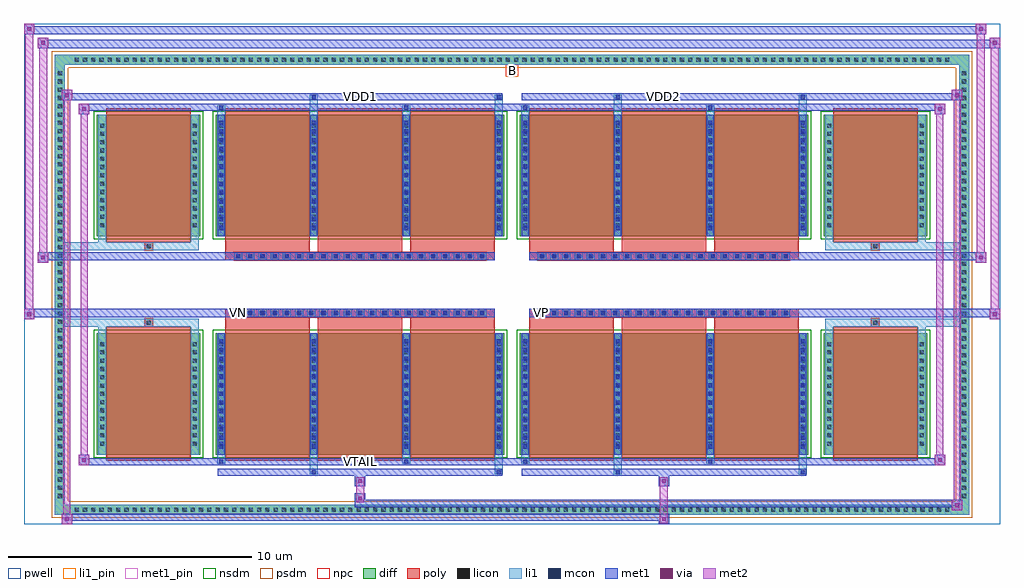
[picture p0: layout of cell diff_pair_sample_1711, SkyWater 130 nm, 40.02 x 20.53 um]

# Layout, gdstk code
import gdstk
lib = gdstk.Library(unit=1e-6, precision=5e-09)
def R(c, l, rs):  # rectangles x0, y0, x1, y1
    for r in rs: c.add(gdstk.rectangle(r[:2], r[2:], *l))
def A(c, l, x, y, w, h, nx, ny, dx, dy):  # array of equal rectangles
    R(c, l, [(x+i*dx, y+j*dy, x+i*dx+w, y+j*dy+h) for i in range(nx) for j in range(ny)])
def P(c, l, *ps):  # polygons
    for p in ps: c.add(gdstk.Polygon(p, *l))
pwell = (64, 44)
diff = (65, 20)
poly = (66, 20)
licon = (66, 44)
li1_pin = (67, 16)
li1 = (67, 20)
mcon = (67, 44)
met1_pin = (68, 16)
met1 = (68, 20)
via = (68, 44)
met2 = (69, 20)
nsdm = (93, 44)
psdm = (94, 20)
npc = (95, 20)

diff_pair_sample_1711 = lib.new_cell('diff_pair_sample_1711')
R(diff_pair_sample_1711, pwell, [(-20.01,-9.83,20.01,10.7), (-17.33,-8.02,-0.01,-0.8), (0.01,-8.02,17.33,-0.8), (-17.33,0.8,-0.01,8.02), (0.01,0.8,17.33,8.02)])
A(diff_pair_sample_1711, diff, -18.055, -9.43, 0.41, 0.41, 106, 2, 0.34, 18.45)
A(diff_pair_sample_1711, diff, -18.74, -8.875, 0.41, 0.41, 1, 52, 0, 0.34)
A(diff_pair_sample_1711, diff, 18.33, -8.875, 0.41, 0.41, 1, 52, 0, 0.34)
R(diff_pair_sample_1711, diff, [(-18.055,-9.43,18.055,-9.02), (-18.74,-8.875,-18.33,8.875), (18.33,-8.875,18.74,8.875), (-17.02,-6.975,-12.78,-1.985), (-12.14,-6.975,-0.32,-1.985), (0.32,-6.975,12.14,-1.985), (12.78,-6.975,17.02,-1.985), (-17.02,1.985,-12.78,6.975), (-12.14,1.985,-0.32,6.975), (0.32,1.985,12.14,6.975), (12.78,1.985,17.02,6.975), (-18.055,9.02,18.055,9.43)])
P(diff_pair_sample_1711, diff, [(18.74,9.43),(-18.74,9.43),(-18.74,-9.02),(-18.33,-9.02),(-18.33,9.02),(18.33,9.02),(18.33,-9.02),(-18.33,-9.02),(-18.74,-9.02),(-18.74,-9.43),(18.74,-9.43)])
A(diff_pair_sample_1711, poly, -11.75, -7.225, 3.46, 5.49, 3, 2, 3.79, 8.96)
A(diff_pair_sample_1711, poly, 0.71, -7.225, 3.46, 5.49, 3, 2, 3.79, 8.96)
A(diff_pair_sample_1711, poly, -11.75, -1.735, 3.46, 0.405, 3, 2, 3.79, 3.065)
A(diff_pair_sample_1711, poly, 0.71, -1.735, 3.46, 0.405, 3, 2, 3.79, 3.065)
A(diff_pair_sample_1711, poly, -11.395, -1.33, 0.33, 0.33, 21, 2, 0.5, 2.33)
A(diff_pair_sample_1711, poly, 1.065, -1.33, 0.33, 0.33, 21, 2, 0.5, 2.33)
R(diff_pair_sample_1711, poly, [(-16.63,-7.225,-13.17,-1.735), (13.17,-7.225,16.63,-1.735), (-15.065,-1.735,-14.735,-1.405), (-15.065,-1.735,-14.735,-1.405), (14.735,-1.735,15.065,-1.405), (14.735,-1.735,15.065,-1.405), (-11.75,-1.33,-0.71,-1), (0.71,-1.33,11.75,-1), (-11.75,1,-0.71,1.33), (0.71,1,11.75,1.33), (-15.065,1.405,-14.735,1.735), (-15.065,1.405,-14.735,1.735), (14.735,1.405,15.065,1.735), (14.735,1.405,15.065,1.735), (-16.63,1.735,-13.17,7.225), (13.17,1.735,16.63,7.225)])
A(diff_pair_sample_1711, licon, -17.935, -9.31, 0.17, 0.17, 106, 2, 0.34, 18.45)
A(diff_pair_sample_1711, licon, -18.62, -8.755, 0.17, 0.17, 1, 52, 0, 0.34)
A(diff_pair_sample_1711, licon, 18.45, -8.755, 0.17, 0.17, 1, 52, 0, 0.34)
A(diff_pair_sample_1711, licon, -16.88, -6.605, 0.17, 0.17, 1, 13, 0, 0.34)
A(diff_pair_sample_1711, licon, -13.09, -6.605, 0.17, 0.17, 1, 13, 0, 0.34)
A(diff_pair_sample_1711, licon, -12, -6.605, 0.17, 0.17, 4, 13, 3.79, 0.34)
A(diff_pair_sample_1711, licon, 0.46, -6.605, 0.17, 0.17, 4, 13, 3.79, 0.34)
A(diff_pair_sample_1711, licon, 12.92, -6.605, 0.17, 0.17, 1, 13, 0, 0.34)
A(diff_pair_sample_1711, licon, 16.71, -6.605, 0.17, 0.17, 1, 13, 0, 0.34)
A(diff_pair_sample_1711, licon, -11.315, -1.25, 0.17, 0.17, 21, 2, 0.5, 2.33)
A(diff_pair_sample_1711, licon, 1.145, -1.25, 0.17, 0.17, 21, 2, 0.5, 2.33)
A(diff_pair_sample_1711, licon, -16.88, 2.355, 0.17, 0.17, 1, 13, 0, 0.34)
A(diff_pair_sample_1711, licon, -13.09, 2.355, 0.17, 0.17, 1, 13, 0, 0.34)
A(diff_pair_sample_1711, licon, -12, 2.355, 0.17, 0.17, 4, 13, 3.79, 0.34)
A(diff_pair_sample_1711, licon, 0.46, 2.355, 0.17, 0.17, 4, 13, 3.79, 0.34)
A(diff_pair_sample_1711, licon, 12.92, 2.355, 0.17, 0.17, 1, 13, 0, 0.34)
A(diff_pair_sample_1711, licon, 16.71, 2.355, 0.17, 0.17, 1, 13, 0, 0.34)
R(diff_pair_sample_1711, licon, [(-14.985,-1.655,-14.815,-1.485), (14.815,-1.655,14.985,-1.485), (-14.985,1.485,-14.815,1.655), (14.815,1.485,14.985,1.655)])
R(diff_pair_sample_1711, li1_pin, [(-0.25,8.52,0.25,9.02)])
A(diff_pair_sample_1711, li1, -18.015, -9.39, 0.33, 0.33, 106, 2, 0.34, 18.45)
A(diff_pair_sample_1711, li1, -18.7, -8.835, 0.33, 0.33, 1, 52, 0, 0.34)
A(diff_pair_sample_1711, li1, 18.37, -8.835, 0.33, 0.33, 1, 52, 0, 0.34)
A(diff_pair_sample_1711, li1, -12.08, -6.975, 0.33, 4.99, 4, 2, 3.79, 8.96)
A(diff_pair_sample_1711, li1, 0.38, -6.975, 0.33, 4.99, 4, 2, 3.79, 8.96)
A(diff_pair_sample_1711, li1, -12, -6.725, 0.17, 0.17, 4, 13, 3.79, 0.36)
A(diff_pair_sample_1711, li1, -12, -6.725, 0.17, 4.49, 4, 2, 3.79, 8.96)
A(diff_pair_sample_1711, li1, 0.46, -6.725, 0.17, 0.17, 4, 13, 3.79, 0.36)
A(diff_pair_sample_1711, li1, 0.46, -6.725, 0.17, 4.49, 4, 2, 3.79, 8.96)
A(diff_pair_sample_1711, li1, -16.96, -6.685, 0.33, 0.33, 1, 13, 0, 0.34)
A(diff_pair_sample_1711, li1, -13.17, -6.685, 0.33, 0.33, 1, 13, 0, 0.34)
A(diff_pair_sample_1711, li1, -12.08, -6.685, 0.33, 0.33, 4, 13, 3.79, 0.34)
A(diff_pair_sample_1711, li1, 0.38, -6.685, 0.33, 0.33, 4, 13, 3.79, 0.34)
A(diff_pair_sample_1711, li1, 12.84, -6.685, 0.33, 0.33, 1, 13, 0, 0.34)
A(diff_pair_sample_1711, li1, 16.63, -6.685, 0.33, 0.33, 1, 13, 0, 0.34)
A(diff_pair_sample_1711, li1, -11.395, -1.33, 0.33, 0.33, 21, 2, 0.5, 2.33)
A(diff_pair_sample_1711, li1, 1.065, -1.33, 0.33, 0.33, 21, 2, 0.5, 2.33)
A(diff_pair_sample_1711, li1, -12, 2.235, 0.17, 0.17, 4, 13, 3.79, 0.36)
A(diff_pair_sample_1711, li1, 0.46, 2.235, 0.17, 0.17, 4, 13, 3.79, 0.36)
A(diff_pair_sample_1711, li1, -16.96, 2.275, 0.33, 0.33, 1, 13, 0, 0.34)
A(diff_pair_sample_1711, li1, -13.17, 2.275, 0.33, 0.33, 1, 13, 0, 0.34)
A(diff_pair_sample_1711, li1, -12.08, 2.275, 0.33, 0.33, 4, 13, 3.79, 0.34)
A(diff_pair_sample_1711, li1, 0.38, 2.275, 0.33, 0.33, 4, 13, 3.79, 0.34)
A(diff_pair_sample_1711, li1, 12.84, 2.275, 0.33, 0.33, 1, 13, 0, 0.34)
A(diff_pair_sample_1711, li1, 16.63, 2.275, 0.33, 0.33, 1, 13, 0, 0.34)
R(diff_pair_sample_1711, li1, [(-18.74,-9.43,-18.33,-9.02), (-18.74,-9.43,-18.33,-9.02), (-18.33,-9.43,18.33,-9.02), (18.33,-9.43,18.74,-9.02), (18.33,-9.43,18.74,-9.02), (-18.74,-9.02,-18.33,9.02), (18.33,-9.02,18.74,9.02), (-8.29,-7.78,-7.96,-6.975), (-8.21,-7.78,-8.04,-7.61), (-0.71,-7.78,-0.38,-6.975), (-0.63,-7.78,-0.46,-7.61), (4.17,-7.78,4.5,-6.975), (4.25,-7.78,4.42,-7.61), (11.75,-7.78,12.08,-6.975), (11.83,-7.78,12,-7.61), (-12.08,-7.35,-11.75,-6.975), (-12,-7.35,-11.83,-7.18), (-4.5,-7.35,-4.17,-6.975), (-4.42,-7.35,-4.25,-7.18), (0.38,-7.35,0.71,-6.975), (0.46,-7.35,0.63,-7.18), (7.96,-7.35,8.29,-6.975), (8.04,-7.35,8.21,-7.18), (-16.96,-6.975,-16.63,-1.985), (-13.17,-6.975,-12.84,-1.985), (12.84,-6.975,13.17,-1.985), (16.63,-6.975,16.96,-1.985), (-16.96,-1.985,-16.63,-1.405), (-13.17,-1.985,-12.84,-1.405), (12.84,-1.985,13.17,-1.405), (16.63,-1.985,16.96,-1.405), (-18.74,-1.735,-15.065,-1.405), (-16.96,-1.735,-15.065,-1.405), (-15.065,-1.735,-14.735,-1.405), (-14.735,-1.735,-12.84,-1.405), (12.84,-1.735,14.735,-1.405), (14.735,-1.735,15.065,-1.405), (14.735,-1.735,18.74,-1.405), (15.065,-1.735,16.96,-1.405), (-18.74,1.405,-15.065,1.735), (-16.96,1.405,-15.065,1.735), (-16.96,1.405,-16.63,1.985), (-15.065,1.405,-14.735,1.735), (-14.735,1.405,-12.84,1.735), (-13.17,1.405,-12.84,1.985), (12.84,1.405,14.735,1.735), (12.84,1.405,13.17,1.985), (14.735,1.405,15.065,1.735), (14.735,1.405,18.74,1.735), (15.065,1.405,16.96,1.735), (16.63,1.405,16.96,1.985), (-16.96,1.985,-16.63,6.975), (-13.17,1.985,-12.84,6.975), (12.84,1.985,13.17,6.975), (16.63,1.985,16.96,6.975), (-12.08,6.975,-11.75,7.35), (-8.29,6.975,-7.96,7.78), (-4.5,6.975,-4.17,7.35), (-0.71,6.975,-0.38,7.78), (0.38,6.975,0.71,7.35), (4.17,6.975,4.5,7.78), (7.96,6.975,8.29,7.35), (11.75,6.975,12.08,7.78), (-12,7.18,-11.83,7.35), (-4.42,7.18,-4.25,7.35), (0.46,7.18,0.63,7.35), (8.04,7.18,8.21,7.35), (-8.21,7.61,-8.04,7.78), (-0.63,7.61,-0.46,7.78), (4.25,7.61,4.42,7.78), (11.83,7.61,12,7.78), (-18.74,9.02,-18.33,9.43), (-18.74,9.02,-18.33,9.43), (-18.33,9.02,18.33,9.43), (18.33,9.02,18.74,9.43), (18.33,9.02,18.74,9.43)])
A(diff_pair_sample_1711, mcon, -12, -6.725, 0.17, 0.17, 4, 13, 3.79, 0.36)
A(diff_pair_sample_1711, mcon, 0.46, -6.725, 0.17, 0.17, 4, 13, 3.79, 0.36)
A(diff_pair_sample_1711, mcon, -11.315, -1.25, 0.17, 0.17, 21, 2, 0.5, 2.33)
A(diff_pair_sample_1711, mcon, 1.145, -1.25, 0.17, 0.17, 21, 2, 0.5, 2.33)
A(diff_pair_sample_1711, mcon, -12, 2.235, 0.17, 0.17, 4, 13, 3.79, 0.36)
A(diff_pair_sample_1711, mcon, 0.46, 2.235, 0.17, 0.17, 4, 13, 3.79, 0.36)
R(diff_pair_sample_1711, mcon, [(-8.21,-7.78,-8.04,-7.61), (-0.63,-7.78,-0.46,-7.61), (4.25,-7.78,4.42,-7.61), (11.83,-7.78,12,-7.61), (-12,-7.35,-11.83,-7.18), (-4.42,-7.35,-4.25,-7.18), (0.46,-7.35,0.63,-7.18), (8.04,-7.35,8.21,-7.18), (-12,7.18,-11.83,7.35), (-4.42,7.18,-4.25,7.35), (0.46,7.18,0.63,7.35), (8.04,7.18,8.21,7.35), (-8.21,7.61,-8.04,7.78), (-0.63,7.61,-0.46,7.78), (4.25,7.61,4.42,7.78), (11.83,7.61,12,7.78)])
R(diff_pair_sample_1711, met1_pin, [(-6.365,-7.39,-6.095,-7.12), (-11.365,-1.29,-11.095,-1.02), (1.095,-1.29,1.365,-1.02), (-6.365,7.57,-6.095,7.84), (6.095,7.57,6.365,7.84)])
A(diff_pair_sample_1711, met1, -12.06, -6.975, 0.29, 4.99, 4, 2, 3.79, 8.96)
A(diff_pair_sample_1711, met1, 0.4, -6.975, 0.29, 4.99, 4, 2, 3.79, 8.96)
A(diff_pair_sample_1711, met1, -12.06, -6.785, 0.29, 0.29, 4, 13, 3.79, 0.36)
A(diff_pair_sample_1711, met1, 0.4, -6.785, 0.29, 0.29, 4, 13, 3.79, 0.36)
A(diff_pair_sample_1711, met1, -11.375, -1.31, 0.29, 0.29, 21, 2, 0.5, 2.33)
A(diff_pair_sample_1711, met1, 1.085, -1.31, 0.29, 0.29, 21, 2, 0.5, 2.33)
A(diff_pair_sample_1711, met1, -12.06, 2.175, 0.29, 0.29, 4, 13, 3.79, 0.36)
A(diff_pair_sample_1711, met1, 0.4, 2.175, 0.29, 0.29, 4, 13, 3.79, 0.36)
R(diff_pair_sample_1711, met1, [(-18.47,-9.83,-18.04,-9.4), (6.015,-9.83,6.445,-9.4), (-18.47,-9.69,6.445,-9.4), (18.04,-9.26,18.47,-8.83), (-6.445,-9.12,18.47,-8.83), (-6.445,-8.98,-6.015,-8.55), (-6.445,-8.27,-6.015,-7.84), (6.015,-8.27,6.445,-7.84), (-12.06,-7.84,-0.4,-7.55), (-8.27,-7.84,-7.98,-7.55), (-0.69,-7.84,-0.4,-7.55), (0.4,-7.84,12.06,-7.55), (4.19,-7.84,4.48,-7.55), (11.77,-7.84,12.06,-7.55), (-17.76,-7.41,-17.33,-6.98), (-17.76,-7.41,-12.06,-7.12), (-12.06,-7.41,-11.77,-7.12), (-12.06,-7.41,-0.4,-7.12), (-4.48,-7.41,-4.19,-7.12), (-0.4,-7.41,0.4,-7.12), (0.4,-7.41,0.69,-7.12), (0.4,-7.41,12.06,-7.12), (7.98,-7.41,8.27,-7.12), (12.06,-7.41,17.76,-7.12), (17.33,-7.41,17.76,-6.98), (-20.01,-1.43,-19.58,-1), (19.58,-1.43,20.01,-1), (-20.01,-1.33,-0.71,-1), (-11.75,-1.33,-0.71,-1), (0.71,-1.33,11.75,-1), (0.71,-1.33,20.01,-1), (-19.44,0.9,-19.01,1.33), (19.01,0.9,19.44,1.33), (-19.44,1,-11.75,1.33), (-11.75,1,-0.71,1.33), (0.71,1,11.75,1.33), (11.75,1,19.44,1.33), (-17.76,6.98,-17.33,7.41), (17.33,6.98,17.76,7.41), (-17.76,7.12,-12.06,7.41), (-12.06,7.12,-11.77,7.41), (-12.06,7.12,-0.4,7.41), (-4.48,7.12,-4.19,7.41), (-0.4,7.12,0.4,7.41), (0.4,7.12,0.69,7.41), (0.4,7.12,12.06,7.41), (7.98,7.12,8.27,7.41), (12.06,7.12,17.76,7.41), (-18.47,7.55,-18.04,7.98), (-18.47,7.55,-12.06,7.84), (-12.06,7.55,-0.4,7.84), (-8.27,7.55,-7.98,7.84), (-0.69,7.55,-0.4,7.84), (0.4,7.55,12.06,7.84), (4.19,7.55,4.48,7.84), (11.77,7.55,12.06,7.84), (12.06,7.55,18.47,7.84), (18.04,7.55,18.47,7.98), (-19.44,9.7,-19.01,10.13), (-19.44,9.7,-17.33,10.03), (-17.33,9.7,17.33,10.03), (17.33,9.7,20.01,10.03), (19.58,9.7,20.01,10.13), (-20.01,10.27,-19.58,10.7), (-20.01,10.27,-17.33,10.6), (-17.33,10.27,17.33,10.6), (17.33,10.27,19.44,10.6), (19.01,10.27,19.44,10.7)])
R(diff_pair_sample_1711, via, [(-18.33,-9.69,-18.18,-9.54), (6.155,-9.69,6.305,-9.54), (18.18,-9.12,18.33,-8.97), (-6.305,-8.84,-6.155,-8.69), (-6.305,-8.13,-6.155,-7.98), (6.155,-8.13,6.305,-7.98), (-17.62,-7.27,-17.47,-7.12), (17.47,-7.27,17.62,-7.12), (-19.87,-1.29,-19.72,-1.14), (19.72,-1.29,19.87,-1.14), (-19.3,1.04,-19.15,1.19), (19.15,1.04,19.3,1.19), (-17.62,7.12,-17.47,7.27), (17.47,7.12,17.62,7.27), (-18.33,7.69,-18.18,7.84), (18.18,7.69,18.33,7.84), (-19.3,9.84,-19.15,9.99), (19.72,9.84,19.87,9.99), (-19.87,10.41,-19.72,10.56), (19.15,10.41,19.3,10.56)])
R(diff_pair_sample_1711, met2, [(-18.47,-9.83,-18.04,-9.4), (-18.4,-9.83,-18.11,7.98), (-18.11,-9.83,-18.04,-9.4), (-18.42,-9.78,-18.09,-9.45), (6.065,-9.78,6.395,-9.45), (6.065,-9.45,6.395,-8.22), (18.04,-9.26,18.47,-8.83), (18.11,-9.26,18.4,7.98), (18.4,-9.26,18.47,-8.83), (18.09,-9.21,18.42,-8.88), (-6.395,-8.93,-6.065,-8.6), (-6.395,-8.6,-6.065,-8.22), (-6.395,-8.22,-6.065,-7.89), (6.065,-8.22,6.395,-7.89), (-17.76,-7.41,-17.33,-6.98), (-17.69,-7.41,-17.4,7.41), (-17.4,-7.41,-17.33,-6.98), (17.33,-7.41,17.76,-6.98), (17.4,-7.41,17.69,7.41), (17.69,-7.41,17.76,-6.98), (-17.71,-7.36,-17.38,-7.03), (17.38,-7.36,17.71,-7.03), (-20.01,-1.43,-19.58,-1), (-19.96,-1.43,-19.63,10.7), (-19.63,-1.43,-19.58,-1), (19.58,-1.43,20.01,-1), (19.63,-1.43,19.96,10.13), (19.96,-1.43,20.01,-1), (-19.96,-1.38,-19.63,-1.05), (19.63,-1.38,19.96,-1.05), (-19.44,0.9,-19.01,1.33), (-19.39,0.9,-19.06,10.13), (-19.06,0.9,-19.01,1.33), (19.01,0.9,19.44,1.33), (19.06,0.9,19.39,10.7), (19.39,0.9,19.44,1.33), (-19.39,0.95,-19.06,1.28), (19.06,0.95,19.39,1.28), (-17.76,6.98,-17.33,7.41), (-17.4,6.98,-17.33,7.41), (17.33,6.98,17.76,7.41), (17.69,6.98,17.76,7.41), (-17.71,7.03,-17.38,7.36), (17.38,7.03,17.71,7.36), (-18.47,7.55,-18.04,7.98), (-18.11,7.55,-18.04,7.98), (18.04,7.55,18.47,7.98), (18.4,7.55,18.47,7.98), (-18.42,7.6,-18.09,7.93), (18.09,7.6,18.42,7.93), (-19.44,9.7,-19.01,10.13), (-19.06,9.7,-19.01,10.13), (19.58,9.7,20.01,10.13), (19.96,9.7,20.01,10.13), (-19.39,9.75,-19.06,10.08), (19.63,9.75,19.96,10.08), (-20.01,10.27,-19.58,10.7), (-19.63,10.27,-19.58,10.7), (19.01,10.27,19.44,10.7), (19.39,10.27,19.44,10.7), (-19.96,10.32,-19.63,10.65), (19.06,10.32,19.39,10.65)])
R(diff_pair_sample_1711, nsdm, [(-17.15,-7.105,-12.65,-1.855), (-12.27,-7.105,-0.19,-1.855), (0.19,-7.105,12.27,-1.855), (12.65,-7.105,17.15,-1.855), (-17.15,1.855,-12.65,7.105), (-12.27,1.855,-0.19,7.105), (0.19,1.855,12.27,7.105), (12.65,1.855,17.15,7.105)])
P(diff_pair_sample_1711, psdm, [(18.87,9.56),(-18.87,9.56),(-18.87,-8.89),(-18.2,-8.89),(-18.2,8.89),(18.2,8.89),(18.2,-8.89),(-18.2,-8.89),(-18.87,-8.89),(-18.87,-9.56),(18.87,-9.56)])
A(diff_pair_sample_1711, npc, -11.415, -1.35, 0.37, 0.37, 21, 2, 0.5, 2.33)
A(diff_pair_sample_1711, npc, 1.045, -1.35, 0.37, 0.37, 21, 2, 0.5, 2.33)
R(diff_pair_sample_1711, npc, [(-15.085,-1.755,-14.715,-1.385), (14.715,-1.755,15.085,-1.385), (-11.415,-1.35,-10.545,-0.98), (-11.415,-1.35,-10.545,-0.98), (-10.915,-1.35,-10.045,-0.98), (-10.915,-1.35,-10.045,-0.98), (-10.415,-1.35,-9.545,-0.98), (-10.415,-1.35,-9.545,-0.98), (-9.915,-1.35,-9.045,-0.98), (-9.915,-1.35,-9.045,-0.98), (-9.415,-1.35,-8.545,-0.98), (-9.415,-1.35,-8.545,-0.98), (-8.915,-1.35,-8.045,-0.98), (-8.915,-1.35,-8.045,-0.98), (-8.415,-1.35,-7.545,-0.98), (-8.415,-1.35,-7.545,-0.98), (-7.915,-1.35,-7.045,-0.98), (-7.915,-1.35,-7.045,-0.98), (-7.415,-1.35,-6.545,-0.98), (-7.415,-1.35,-6.545,-0.98), (-6.915,-1.35,-6.045,-0.98), (-6.915,-1.35,-6.045,-0.98), (-6.415,-1.35,-5.545,-0.98), (-6.415,-1.35,-5.545,-0.98), (-5.915,-1.35,-5.045,-0.98), (-5.915,-1.35,-5.045,-0.98), (-5.415,-1.35,-4.545,-0.98), (-5.415,-1.35,-4.545,-0.98), (-4.915,-1.35,-4.045,-0.98), (-4.915,-1.35,-4.045,-0.98), (-4.415,-1.35,-3.545,-0.98), (-4.415,-1.35,-3.545,-0.98), (-3.915,-1.35,-3.045,-0.98), (-3.915,-1.35,-3.045,-0.98), (-3.415,-1.35,-2.545,-0.98), (-3.415,-1.35,-2.545,-0.98), (-2.915,-1.35,-2.045,-0.98), (-2.915,-1.35,-2.045,-0.98), (-2.415,-1.35,-1.545,-0.98), (-2.415,-1.35,-1.545,-0.98), (-1.915,-1.35,-1.045,-0.98), (-1.915,-1.35,-1.045,-0.98), (1.045,-1.35,1.915,-0.98), (1.045,-1.35,1.915,-0.98), (1.545,-1.35,2.415,-0.98), (1.545,-1.35,2.415,-0.98), (2.045,-1.35,2.915,-0.98), (2.045,-1.35,2.915,-0.98), (2.545,-1.35,3.415,-0.98), (2.545,-1.35,3.415,-0.98), (3.045,-1.35,3.915,-0.98), (3.045,-1.35,3.915,-0.98), (3.545,-1.35,4.415,-0.98), (3.545,-1.35,4.415,-0.98), (4.045,-1.35,4.915,-0.98), (4.045,-1.35,4.915,-0.98), (4.545,-1.35,5.415,-0.98), (4.545,-1.35,5.415,-0.98), (5.045,-1.35,5.915,-0.98), (5.045,-1.35,5.915,-0.98), (5.545,-1.35,6.415,-0.98), (5.545,-1.35,6.415,-0.98), (6.045,-1.35,6.915,-0.98), (6.045,-1.35,6.915,-0.98), (6.545,-1.35,7.415,-0.98), (6.545,-1.35,7.415,-0.98), (7.045,-1.35,7.915,-0.98), (7.045,-1.35,7.915,-0.98), (7.545,-1.35,8.415,-0.98), (7.545,-1.35,8.415,-0.98), (8.045,-1.35,8.915,-0.98), (8.045,-1.35,8.915,-0.98), (8.545,-1.35,9.415,-0.98), (8.545,-1.35,9.415,-0.98), (9.045,-1.35,9.915,-0.98), (9.045,-1.35,9.915,-0.98), (9.545,-1.35,10.415,-0.98), (9.545,-1.35,10.415,-0.98), (10.045,-1.35,10.915,-0.98), (10.045,-1.35,10.915,-0.98), (10.545,-1.35,11.415,-0.98), (10.545,-1.35,11.415,-0.98), (-11.415,0.98,-10.545,1.35), (-11.415,0.98,-10.545,1.35), (-10.915,0.98,-10.045,1.35), (-10.915,0.98,-10.045,1.35), (-10.415,0.98,-9.545,1.35), (-10.415,0.98,-9.545,1.35), (-9.915,0.98,-9.045,1.35), (-9.915,0.98,-9.045,1.35), (-9.415,0.98,-8.545,1.35), (-9.415,0.98,-8.545,1.35), (-8.915,0.98,-8.045,1.35), (-8.915,0.98,-8.045,1.35), (-8.415,0.98,-7.545,1.35), (-8.415,0.98,-7.545,1.35), (-7.915,0.98,-7.045,1.35), (-7.915,0.98,-7.045,1.35), (-7.415,0.98,-6.545,1.35), (-7.415,0.98,-6.545,1.35), (-6.915,0.98,-6.045,1.35), (-6.915,0.98,-6.045,1.35), (-6.415,0.98,-5.545,1.35), (-6.415,0.98,-5.545,1.35), (-5.915,0.98,-5.045,1.35), (-5.915,0.98,-5.045,1.35), (-5.415,0.98,-4.545,1.35), (-5.415,0.98,-4.545,1.35), (-4.915,0.98,-4.045,1.35), (-4.915,0.98,-4.045,1.35), (-4.415,0.98,-3.545,1.35), (-4.415,0.98,-3.545,1.35), (-3.915,0.98,-3.045,1.35), (-3.915,0.98,-3.045,1.35), (-3.415,0.98,-2.545,1.35), (-3.415,0.98,-2.545,1.35), (-2.915,0.98,-2.045,1.35), (-2.915,0.98,-2.045,1.35), (-2.415,0.98,-1.545,1.35), (-2.415,0.98,-1.545,1.35), (-1.915,0.98,-1.045,1.35), (-1.915,0.98,-1.045,1.35), (1.045,0.98,1.915,1.35), (1.045,0.98,1.915,1.35), (1.545,0.98,2.415,1.35), (1.545,0.98,2.415,1.35), (2.045,0.98,2.915,1.35), (2.045,0.98,2.915,1.35), (2.545,0.98,3.415,1.35), (2.545,0.98,3.415,1.35), (3.045,0.98,3.915,1.35), (3.045,0.98,3.915,1.35), (3.545,0.98,4.415,1.35), (3.545,0.98,4.415,1.35), (4.045,0.98,4.915,1.35), (4.045,0.98,4.915,1.35), (4.545,0.98,5.415,1.35), (4.545,0.98,5.415,1.35), (5.045,0.98,5.915,1.35), (5.045,0.98,5.915,1.35), (5.545,0.98,6.415,1.35), (5.545,0.98,6.415,1.35), (6.045,0.98,6.915,1.35), (6.045,0.98,6.915,1.35), (6.545,0.98,7.415,1.35), (6.545,0.98,7.415,1.35), (7.045,0.98,7.915,1.35), (7.045,0.98,7.915,1.35), (7.545,0.98,8.415,1.35), (7.545,0.98,8.415,1.35), (8.045,0.98,8.915,1.35), (8.045,0.98,8.915,1.35), (8.545,0.98,9.415,1.35), (8.545,0.98,9.415,1.35), (9.045,0.98,9.915,1.35), (9.045,0.98,9.915,1.35), (9.545,0.98,10.415,1.35), (9.545,0.98,10.415,1.35), (10.045,0.98,10.915,1.35), (10.045,0.98,10.915,1.35), (10.545,0.98,11.415,1.35), (10.545,0.98,11.415,1.35), (-15.085,1.385,-14.715,1.755), (14.715,1.385,15.085,1.755)])
diff_pair_sample_1711.add(gdstk.Label('VTAIL', (-6.23,-7.255), layer=68, texttype=5))
diff_pair_sample_1711.add(gdstk.Label('VN', (-11.23,-1.155), layer=68, texttype=5))
diff_pair_sample_1711.add(gdstk.Label('VP', (1.23,-1.155), layer=68, texttype=5))
diff_pair_sample_1711.add(gdstk.Label('B', (0,8.77), layer=67, texttype=5))
diff_pair_sample_1711.add(gdstk.Label('VDD2', (6.23,7.705), layer=68, texttype=5))
diff_pair_sample_1711.add(gdstk.Label('VDD1', (-6.23,7.705), layer=68, texttype=5))

lib.write_gds('diff_pair_sample_1711.gds')
